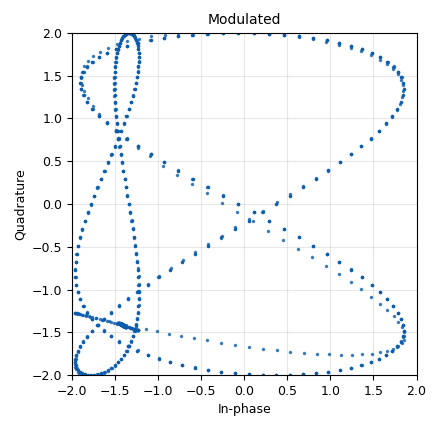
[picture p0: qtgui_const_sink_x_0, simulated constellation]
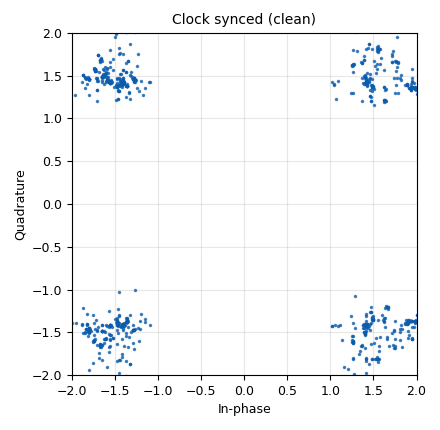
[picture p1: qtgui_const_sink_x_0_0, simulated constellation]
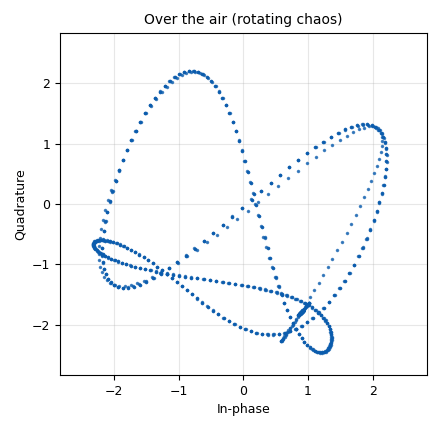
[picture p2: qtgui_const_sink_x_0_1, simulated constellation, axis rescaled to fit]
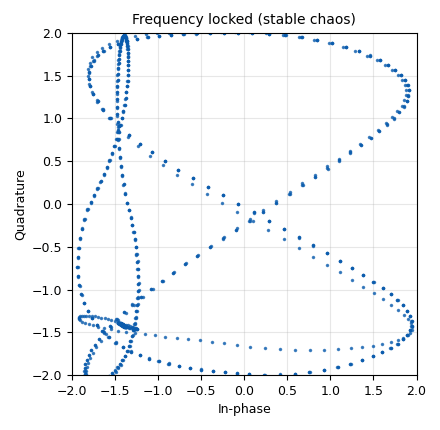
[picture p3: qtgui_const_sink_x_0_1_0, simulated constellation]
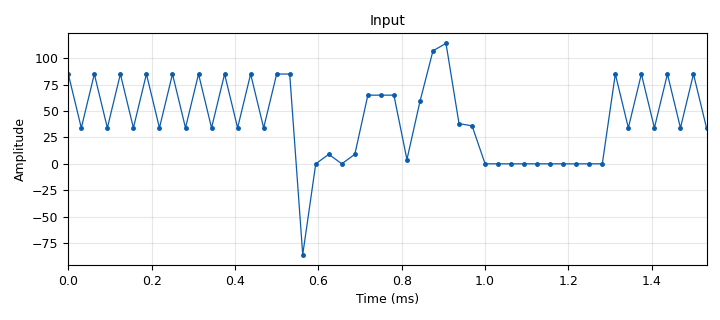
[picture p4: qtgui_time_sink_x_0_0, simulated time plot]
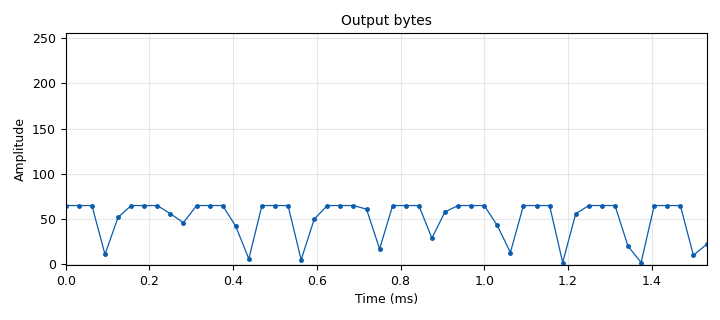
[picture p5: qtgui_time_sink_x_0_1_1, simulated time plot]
options:
  parameters:
    author: thomas@habets.se
    copyright: thomas@habets.se
    generate_options: qt_gui
    id: dqpsktest
    output_language: python
    title: DQPSK test
  states: {}

blocks:
- name: crc_len
  id: variable
  parameters:
    value: '4'
  states: {}
- name: fixed_payload_len
  id: variable
  parameters:
    value: '3'
  states: {}
- name: payload_len
  id: variable
  parameters:
    value: '2'
  states: {}
- name: preamble_len
  id: variable
  parameters:
    value: '16'
  states: {}
- name: qpsk
  id: variable_constellation
  parameters:
    precision: '8'
    type: qpsk
  states: {}
- name: samp_rate
  id: variable
  parameters:
    value: '32000'
  states: {}
- name: sps
  id: variable
  parameters:
    value: '32'
  states: {}
- name: start_tag
  id: variable_tag_object
  parameters:
    comment: Payload start
    key: pmt.intern("packet_len")
    offset: '0'
    src: pmt.intern("src")
    value: pmt.to_pmt(fixed_payload_len+payload_len)
  states: {}
- name: tag_tx_eob
  id: variable_tag_object
  parameters:
    comment: Stop SDR tx
    key: pmt.intern("tx_eob")
    offset: '0'
    src: pmt.intern("src")
    value: pmt.to_pmt(True)
  states: {}
- name: tag_tx_sob
  id: variable_tag_object
  parameters:
    comment: Start SDR tx
    key: pmt.intern("tx_sob")
    offset: '0'
    src: pmt.intern("src")
    value: pmt.to_pmt(True)
  states: {}
- name: trailing_zeroes
  id: variable
  parameters:
    value: '10'
  states: {}
- name: analog_random_source_x_0
  id: analog_random_source_x
  parameters:
    max: '65'
    min: '0'
    num_samps: '1000'
    repeat: 'True'
    type: byte
  states: {}
- name: blocks_char_to_float_0
  id: blocks_char_to_float
  parameters:
    scale: '1'
  states: {}
- name: blocks_char_to_float_0_0
  id: blocks_char_to_float
  parameters:
    scale: '1'
  states: {}
- name: blocks_char_to_float_0_1
  id: blocks_char_to_float
  parameters:
    scale: '1'
  states: {}
- name: blocks_char_to_float_2
  id: blocks_char_to_float
  parameters:
    scale: '1'
  states: {}
- name: blocks_char_to_float_2_0_0
  id: blocks_char_to_float
  parameters:
    scale: '1'
  states: {}
- name: blocks_message_debug_0
  id: blocks_message_debug
  parameters: {}
  states: {}
- name: blocks_pack_k_bits_bb_0
  id: blocks_pack_k_bits_bb
  parameters:
    k: '8'
  states: {}
- name: blocks_pack_k_bits_bb_0_0
  id: blocks_pack_k_bits_bb
  parameters:
    k: '8'
  states: {}
- name: blocks_socket_pdu_0
  id: blocks_socket_pdu
  parameters:
    host: 127.0.0.1
    mtu: '10000'
    port: '23002'
    tcp_no_delay: 'False'
    type: UDP_CLIENT
  states: {state: disabled}
- name: blocks_stream_mux_0
  id: blocks_stream_mux
  parameters:
    lengths: '[fixed_payload_len,payload_len]'
    type: byte
  states: {}
- name: blocks_stream_mux_1
  id: blocks_stream_mux
  parameters:
    lengths: '[preamble_len,7,fixed_payload_len+payload_len+crc_len,trailing_zeroes]'
    num_inputs: '4'
    type: byte
  states: {}
- name: blocks_tag_gate_0
  id: blocks_tag_gate
  parameters:
    propagate_tags: 'False'
    type: complex
  states: {}
- name: blocks_tagged_stream_multiply_length_0_0
  id: blocks_tagged_stream_multiply_length
  parameters:
    c: 1/8.0
    lengthtagname: packet_len
    type: byte
  states: {}
- name: blocks_tagged_stream_to_pdu_0
  id: blocks_tagged_stream_to_pdu
  parameters:
    tag: packet_len
    type: byte
  states: {}
- name: blocks_throttle_0
  id: blocks_throttle
  parameters:
    samples_per_second: samp_rate
    type: complex
  states: {}
- name: blocks_unpack_k_bits_bb_0
  id: blocks_unpack_k_bits_bb
  parameters:
    k: '2'
  states: {}
- name: blocks_vector_source_x_0
  id: blocks_vector_source_x
  parameters:
    repeat: 'True'
    tags: ''
    type: byte
    vector: (0x55, 0x55, 0xaa,0x00,fixed_payload_len+payload_len+crc_len,0x00,fixed_payload_len+payload_len+crc_len)
  states: {}
- name: blocks_vector_source_x_0_1
  id: blocks_vector_source_x
  parameters:
    repeat: 'True'
    tags: '[tag_tx_sob]'
    type: byte
    vector: '[0x55, 0x22] * int(preamble_len/2)'
  states: {}
- name: blocks_vector_source_x_1
  id: blocks_vector_source_x
  parameters:
    repeat: 'True'
    tags: '[tag_tx_eob]'
    type: byte
    vector: '[0] * trailing_zeroes'
  states: {}
- name: blocks_vector_source_x_2
  id: blocks_vector_source_x
  parameters:
    repeat: 'True'
    tags: '[start_tag]'
    type: byte
    vector: '[65]*fixed_payload_len'
  states: {}
- name: channels_channel_model_0
  id: channels_channel_model
  parameters:
    epsilon: '1'
    freq_offset: '1e-6'
    noise_voltage: '100e-6'
    seed: '0'
    taps: '1.0'
  states: {}
- name: digital_constellation_decoder_cb_0
  id: digital_constellation_decoder_cb
  parameters:
    constellation: qpsk
  states: {}
- name: digital_constellation_modulator_0
  id: digital_constellation_modulator
  parameters:
    constellation: qpsk
    differential: 'True'
    excess_bw: '0.35'
    samples_per_symbol: sps
  states: {}
- name: digital_correlate_access_code_xx_ts_0_0
  id: digital_correlate_access_code_xx_ts
  parameters:
    access_code: '0101010110101010'
    tagname: packet_len
    threshold: '0'
    type: byte
  states: {}
- name: digital_costas_loop_cc_0
  id: digital_costas_loop_cc
  parameters:
    order: '4'
    w: 3.14/1000
  states: {}
- name: digital_crc32_bb_0
  id: digital_crc32_bb
  parameters:
    check: 'False'
    lengthtagname: '"packet_len"'
    packed: 'True'
  states: {}
- name: digital_crc32_bb_1
  id: digital_crc32_bb
  parameters:
    check: 'True'
    lengthtagname: '"packet_len"'
    packed: 'True'
  states: {}
- name: digital_diff_decoder_bb_0
  id: digital_diff_decoder_bb
  parameters:
    modulus: '4'
  states: {}
- name: digital_symbol_sync_xx_0
  id: digital_symbol_sync_xx
  parameters:
    constellation: digital.constellation_dqpsk().base()
    damping: '1.0'
    loop_bw: '0.045'
    max_dev: '1.5'
    osps: '1'
    resamp_type: digital.IR_MMSE_8TAP
    sps: sps
    ted_gain: '1.0'
    ted_type: digital.TED_MUELLER_AND_MULLER
    type: cc
  states: {}
- name: note_0
  id: note
  parameters:
    note: Aether
  states: {}
- name: note_1
  id: note
  parameters:
    note: Data generation
  states: {}
- name: note_2
  id: note
  parameters:
    note: Header
  states: {}
- name: note_3
  id: note
  parameters:
    note: Transmit
  states: {}
- name: note_4
  id: note
  parameters:
    note: Receive
  states: {}
- name: qtgui_const_sink_x_0
  id: qtgui_const_sink_x
  parameters:
    gui_hint: 'tabs@0: 0,1,2,2'
    name: '"Modulated"'
    size: '1024'
    tr_mode: qtgui.TRIG_MODE_TAG
    tr_tag: '"tx_sob"'
    type: complex
  states: {}
- name: qtgui_const_sink_x_0_0
  id: qtgui_const_sink_x
  parameters:
    gui_hint: 'tabs@1: 0,2'
    name: '"Clock synced (clean)"'
    size: '1024'
    tr_tag: '"tx_sob"'
    type: complex
  states: {}
- name: qtgui_const_sink_x_0_1
  id: qtgui_const_sink_x
  parameters:
    gui_hint: 'tabs@1: 0,0'
    name: '"Over the air (rotating chaos)"'
    size: '1024'
    type: complex
  states: {}
- name: qtgui_const_sink_x_0_1_0
  id: qtgui_const_sink_x
  parameters:
    gui_hint: 'tabs@1: 0,1'
    name: '"Frequency locked (stable chaos)"'
    size: '1024'
    type: complex
  states: {}
- name: qtgui_time_sink_x_0_0
  id: qtgui_time_sink_x
  parameters:
    autoscale: 'True'
    gui_hint: 'tabs@0: 0,0'
    marker1: '0'
    name: '"Input"'
    size: '50'
    srate: samp_rate
    tr_mode: qtgui.TRIG_MODE_TAG
    tr_tag: '"tx_sob"'
    type: float
  states: {}
- name: qtgui_time_sink_x_0_1_1
  id: qtgui_time_sink_x
  parameters:
    gui_hint: 'tabs@1: 5,0,1,3'
    marker1: '0'
    name: '"Output bytes"'
    size: '50'
    srate: samp_rate
    tr_mode: qtgui.TRIG_MODE_TAG
    tr_tag: '"packet_len"'
    type: float
    ymax: '256'
  states: {}
- name: qtgui_time_sink_x_0_1_1_0_0
  id: qtgui_time_sink_x
  parameters:
    autoscale: 'True'
    ctrlpanel: 'True'
    gui_hint: 'tabs@1: 4,0,1,3'
    marker1: '0'
    name: '"Output diff bytes"'
    size: '32'
    srate: samp_rate
    tr_delay: '0.1e-3'
    tr_level: '0.1'
    tr_tag: '"tx_sob"'
    type: float
    ymax: '4'
  states: {}
- name: qtgui_time_sink_x_0_1_1_0_0_0
  id: qtgui_time_sink_x
  parameters:
    ctrlpanel: 'True'
    gui_hint: 'tabs@1: 3,0,1,3'
    label1: Pre diff
    label2: Post diff
    marker1: '0'
    marker2: '2'
    name: '"Differ in QPSK space"'
    nconnections: '2'
    size: '32'
    srate: samp_rate
    tr_delay: '0.1e-3'
    tr_level: '0.1'
    tr_tag: '"tx_sob"'
    type: float
    width2: '2'
    ymax: '4'
  states: {}
- name: tabs
  id: qtgui_tab_widget
  parameters:
    label0: TX
    label1: RX
    num_tabs: '2'
  states: {}
- name: virtual_sink_0
  id: virtual_sink
  parameters:
    stream_id: data
  states: {}
- name: virtual_sink_1
  id: virtual_sink
  parameters:
    stream_id: to_air
  states: {}
- name: virtual_sink_2
  id: virtual_sink
  parameters:
    stream_id: from_air
  states: {}
- name: virtual_sink_2_0
  id: virtual_sink
  parameters:
    stream_id: from_air
  states: {state: disabled}
- name: virtual_source_0
  id: virtual_source
  parameters:
    stream_id: data
  states: {}
- name: virtual_source_1
  id: virtual_source
  parameters:
    stream_id: from_air
  states: {}
- name: virtual_source_2
  id: virtual_source
  parameters:
    stream_id: to_air
  states: {}
- name: virtual_source_2_0
  id: virtual_source
  parameters:
    stream_id: to_air
  states: {state: disabled}

connections:
- [analog_random_source_x_0, '0', blocks_stream_mux_0, '1']
- [blocks_char_to_float_0, '0', qtgui_time_sink_x_0_1_1_0_0_0, '0']
- [blocks_char_to_float_0_0, '0', qtgui_time_sink_x_0_0, '0']
- [blocks_char_to_float_0_1, '0', qtgui_time_sink_x_0_1_1_0_0_0, '1']
- [blocks_char_to_float_2, '0', qtgui_time_sink_x_0_1_1, '0']
- [blocks_char_to_float_2_0_0, '0', qtgui_time_sink_x_0_1_1_0_0, '0']
- [blocks_pack_k_bits_bb_0, '0', blocks_char_to_float_2_0_0, '0']
- [blocks_pack_k_bits_bb_0_0, '0', blocks_tagged_stream_multiply_length_0_0, '0']
- [blocks_stream_mux_0, '0', digital_crc32_bb_0, '0']
- [blocks_stream_mux_1, '0', virtual_sink_0, '0']
- [blocks_tag_gate_0, '0', virtual_sink_2, '0']
- [blocks_tagged_stream_multiply_length_0_0, '0', digital_crc32_bb_1, '0']
- [blocks_tagged_stream_to_pdu_0, pdus, blocks_message_debug_0, print_pdu]
- [blocks_tagged_stream_to_pdu_0, pdus, blocks_socket_pdu_0, pdus]
- [blocks_throttle_0, '0', channels_channel_model_0, '0']
- [blocks_unpack_k_bits_bb_0, '0', blocks_pack_k_bits_bb_0, '0']
- [blocks_unpack_k_bits_bb_0, '0', digital_correlate_access_code_xx_ts_0_0, '0']
- [blocks_vector_source_x_0, '0', blocks_stream_mux_1, '1']
- [blocks_vector_source_x_0_1, '0', blocks_stream_mux_1, '0']
- [blocks_vector_source_x_1, '0', blocks_stream_mux_1, '3']
- [blocks_vector_source_x_2, '0', blocks_stream_mux_0, '0']
- [channels_channel_model_0, '0', blocks_tag_gate_0, '0']
- [digital_constellation_decoder_cb_0, '0', blocks_char_to_float_0, '0']
- [digital_constellation_decoder_cb_0, '0', digital_diff_decoder_bb_0, '0']
- [digital_constellation_modulator_0, '0', qtgui_const_sink_x_0, '0']
- [digital_constellation_modulator_0, '0', virtual_sink_1, '0']
- [digital_correlate_access_code_xx_ts_0_0, '0', blocks_pack_k_bits_bb_0_0, '0']
- [digital_costas_loop_cc_0, '0', digital_symbol_sync_xx_0, '0']
- [digital_costas_loop_cc_0, '0', qtgui_const_sink_x_0_1_0, '0']
- [digital_crc32_bb_0, '0', blocks_stream_mux_1, '2']
- [digital_crc32_bb_1, '0', blocks_char_to_float_2, '0']
- [digital_crc32_bb_1, '0', blocks_tagged_stream_to_pdu_0, '0']
- [digital_diff_decoder_bb_0, '0', blocks_char_to_float_0_1, '0']
- [digital_diff_decoder_bb_0, '0', blocks_unpack_k_bits_bb_0, '0']
- [digital_symbol_sync_xx_0, '0', digital_constellation_decoder_cb_0, '0']
- [digital_symbol_sync_xx_0, '0', qtgui_const_sink_x_0_0, '0']
- [virtual_source_0, '0', blocks_char_to_float_0_0, '0']
- [virtual_source_0, '0', digital_constellation_modulator_0, '0']
- [virtual_source_1, '0', digital_costas_loop_cc_0, '0']
- [virtual_source_1, '0', qtgui_const_sink_x_0_1, '0']
- [virtual_source_2, '0', blocks_throttle_0, '0']
- [virtual_source_2_0, '0', virtual_sink_2_0, '0']

metadata:
  file_format: 1
